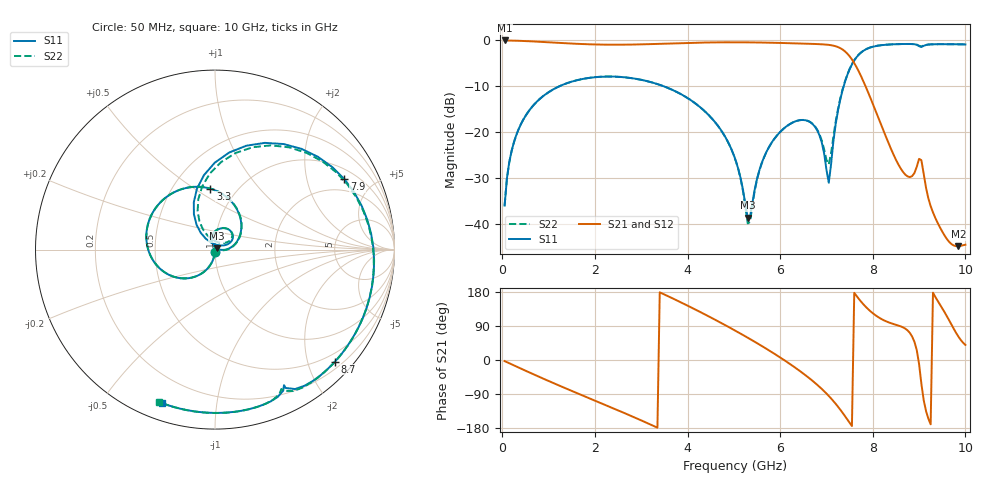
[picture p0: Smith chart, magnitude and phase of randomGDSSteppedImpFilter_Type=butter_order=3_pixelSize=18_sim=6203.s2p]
! freq	dB(S11)	phase(S11)	dB(S12)	phase(S12)
!  dB(S21)	phase(S21)	dB(S22)	phase(S22)
!S-par simulation data
#  GHz  S  DB  R 50
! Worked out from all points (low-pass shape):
!   200 points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, 50 MHz to 10 GHz, reference 50 ohm
!   highest |S21| = -0.01 dB at 50 MHz (marker M1); lowest = -44.9 dB at 9.85 GHz (marker M2)
!   |S21| within 3 dB of the highest: start of sweep to 7.461 GHz
!   lowest |S11| = -38.7 dB at 5.3 GHz (marker M3), VSWR 1.02, Z = 50.9 + j0.762 ohm
!   |S11| at or under -10 dB: start of sweep to 1.232 GHz; 3.485 GHz to 7.372 GHz (3.887 GHz wide, 71.6 % of centre)
!   |S22| runs from -39.9 to -0.8 dB; largest |S21 - S12| = 0
!   S11 on the Smith chart (normalised r, x): 50 MHz: 1.00, -0.03; 3.3 GHz: 0.76, +0.58; 7.9 GHz: 1.41, +3.38; 8.7 GHz: 0.33, -2.50; 10 GHz: 0.08, -0.71
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0.05  -36.05 -92.7  -0.01 -2.9  -0.01 -2.9  -36.05 -92.7
0.2  -24.15 -101.7  -0.03 -11.4  -0.03 -11.4  -24.15 -101.7
0.5  -16.49 -118.7  -0.14 -28.2  -0.14 -28.2  -16.49 -118.7
1.75  -8.38 175.0  -0.80 -94.5  -0.80 -94.5  -8.38 174.8
3.3  -9.36 94.3  -0.77 -175.8  -0.77 -175.8  -9.36 93.8
3.4  -9.69 88.7  -0.74 178.6  -0.74 178.6  -9.69 88.3
4.15  -13.60 45.7  -0.51 134.4  -0.51 134.4  -13.60 45.0
5.05  -26.48 -2.0  -0.40 76.1  -0.40 76.1  -26.55 -4.3
5.3  -38.67 39.9  -0.42 58.8  -0.42 58.8  -39.93 36.8
5.8  -22.56 103.0  -0.50 22.3  -0.50 22.3  -22.59 104.2
6.25  -18.01 71.5  -0.62 -13.8  -0.62 -13.8  -18.02 72.8
6.7  -18.24 35.1  -0.75 -55.0  -0.75 -55.0  -18.17 38.6
7.05  -31.06 77.0  -0.97 -94.8  -0.97 -94.8  -27.03 77.4
7.25  -15.24 126.6  -1.46 -123.3  -1.46 -123.3  -14.90 118.8
7.45  -7.55 98.5  -2.87 -156.8  -2.87 -156.8  -7.45 94.0
7.9  -1.71 28.6  -11.33 134.1  -11.33 134.1  -1.69 26.1
8.35  -0.89 -17.1  -22.62 98.9  -22.62 98.9  -0.89 -18.9
8.7  -0.78 -43.1  -29.25 83.0  -29.25 83.0  -0.77 -44.5
9.05  -1.44 -63.0  -26.13 -63.1  -26.13 -63.1  -1.31 -64.5
9.35  -0.83 -78.2  -38.71 166.5  -38.71 166.5  -0.82 -79.6
9.85  -0.85 -102.3  -44.89 61.6  -44.89 61.6  -0.85 -103.6
10  -0.87 -109.0  -44.57 39.8  -44.57 39.8  -0.87 -110.3
